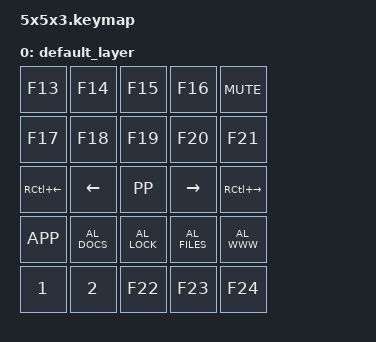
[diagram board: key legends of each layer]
#include <behaviors.dtsi>
#include <dt-bindings/zmk/keys.h>
#include <dt-bindings/zmk/bt.h>
#include <dt-bindings/zmk/ext_power.h>
#include <dt-bindings/zmk/outputs.h>
#include <dt-bindings/zmk/rgb.h>
#include <dt-bindings/zmk/lightgroup.h>
#include <dt-bindings/zmk/color.h>
#include <behaviors/hsv.dtsi>

/ {
    keymap {
        compatible = "zmk,keymap";
        default_layer {
            bindings = <
                     &kp F13         &kp F14         &kp F15         &kp F16         &kp K_MUTE
                     &kp F17         &kp F18         &kp F19         &kp F20         &kp F21
                     &kp RC(LEFT)    &kp LEFT        &kp K_PP        &kp RIGHT       &kp RC(RIGHT)
                     &kp K_APP       &kp C_AL_DOCS   &kp C_AL_LOCK   &kp C_AL_FILES  &kp C_AL_WWW
                     &kp N1          &kp N2          &kp F22         &kp F23         &kp F24
            >;
        };
    };
    ledlayout {
        compatible = "zmk,behavior-led-layout";
        bindings = [ 00 01 02 03 04
                     09 08 07 06 05
                     0a 0b 0c 0d 0e
                     13 12 11 10 0f
                     14 15 16 17 18 ];
   };
   lightgroup {
        compatible = "zmk,light-group";
        default_layer {
            bindings = [ LG_DESKTOP  LG_DESKTOP  LG_DESKTOP  LG_DESKTOP  LG_DESKTOP
                         LG_DESKTOP  LG_DESKTOP  LG_DESKTOP  LG_DESKTOP  LG_DESKTOP
                         LG_VOLUME   LG_VOLUME   LG_VOLUME   LG_VOLUME   LG_VOLUME
                         LG_HID      LG_HID      LG_HID      LG_BATTERY  LG_BATTERY
                         LG_LAYER    LG_LAYER    LG_LAYER    LG_ENDPOINT LG_PROFILE ];
        };
   };
   colorgroup {
       compatible = "zmk,color-group";
       backgrounds {
           colors = < &hsv HSV_AMBER >;
       };
       batterys {
           colors = < &hsv HSV_WHITE        &hsv HSV_RED >;
       };
       desktops {
           colors =  < &hsv HSV_CHARTREUSE   &hsv HSV_YELLOW   &hsv HSV_ROSE   &hsv HSV_VIOLET   &hsv HSV_AZURE
                       &hsv HSV_MAGENTA      &hsv HSV_VOLTA    &hsv HSV_CYAN   &hsv HSV_SPRING   &hsv HSV_CRIMSON >;
       };
       endpoints {
           colors = < &hsv HSV_RED          &hsv HSV_GREEN    &hsv HSV_BLUE >;
       };
       hids {
           colors =  < &hsv HSV_RED          &hsv HSV_GREEN    &hsv HSV_BLUE >;
       };
       layers {
           colors = < &hsv HSV_MAGENTA      &hsv HSV_VOLTA    &hsv HSV_CYAN   &hsv HSV_SPRING   &hsv HSV_CRIMSON >;
       };
       profiles {
           colors =  < &hsv HSV_BLUE         &hsv HSV_GREEN >;
       };
       volumes {
           colors =  < &hsv HSV_YELLOW       &hsv HSV_RED >;
       };
   };
};
